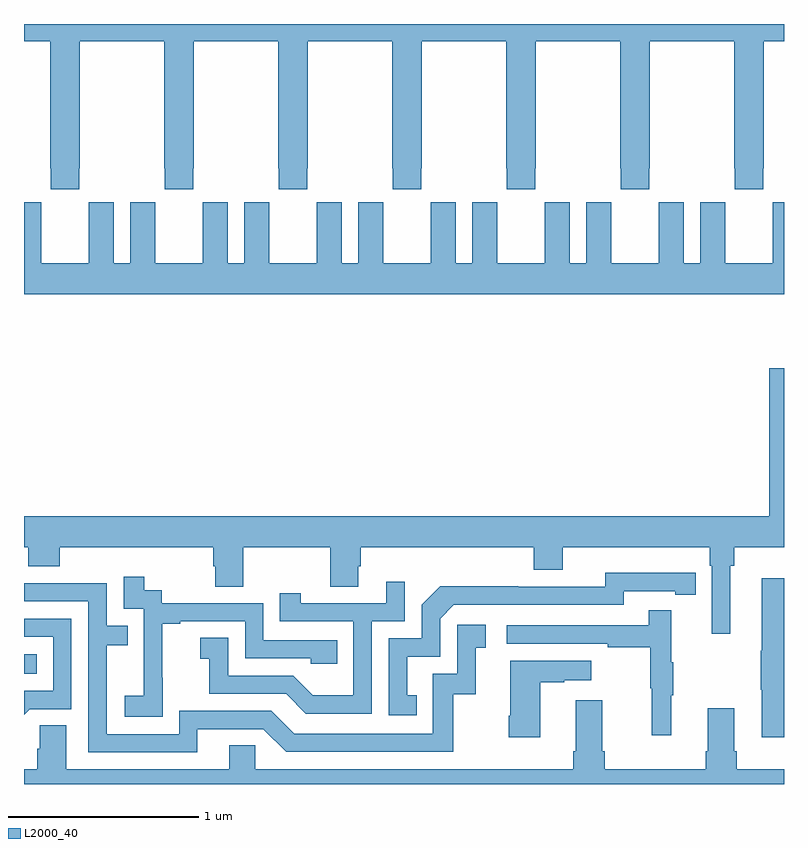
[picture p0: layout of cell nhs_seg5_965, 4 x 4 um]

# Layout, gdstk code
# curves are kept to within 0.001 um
import gdstk
lib = gdstk.Library(unit=1e-6, precision=1e-09)
def R(c, l, rs):  # rectangles x0, y0, x1, y1
    for r in rs: c.add(gdstk.rectangle(r[:2], r[2:], *l))
def P(c, l, *ps):  # polygons
    for p in ps: c.add(gdstk.Polygon(p, *l))
L2000_40 = (2000, 40)

nhs_seg5_965 = lib.new_cell('nhs_seg5_965')
R(nhs_seg5_965, L2000_40, [(171,905.378,171.068,905.482)])
P(nhs_seg5_965, L2000_40, [(171,908.708),(171.139,908.708),(171.139,908.041),(171.141,908.041),(171.141,907.929),(171.291,907.929),(171.291,908.041),(171.294,908.041),(171.294,908.708),(171.739,908.708),(171.739,908.041),(171.741,908.041),(171.741,907.929),(171.891,907.929),(171.891,908.041),(171.894,908.041),(171.894,908.708),(172.339,908.708),(172.339,908.041),(172.341,908.041),(172.341,907.929),(172.491,907.929),(172.491,908.041),(172.494,908.041),(172.494,908.708),(172.939,908.708),(172.939,908.041),(172.941,908.041),(172.941,907.929),(173.091,907.929),(173.091,908.041),(173.094,908.041),(173.094,908.708),(173.539,908.708),(173.539,908.041),(173.541,908.041),(173.541,907.929),(173.691,907.929),(173.691,908.041),(173.694,908.041),(173.694,908.708),(174.139,908.708),(174.139,908.041),(174.141,908.041),(174.141,907.929),(174.291,907.929),(174.291,908.041),(174.294,908.041),(174.294,908.708),(174.739,908.708),(174.739,908.041),(174.741,908.041),(174.741,907.929),(174.891,907.929),(174.891,908.041),(174.894,908.041),(174.894,908.708),(175,908.708),(175,908.799),(171,908.799)],
  [(175,907.861),(174.942,907.861),(174.942,907.748),(174.941,907.748),(174.941,907.54),(174.691,907.54),(174.691,907.748),(174.69,907.748),(174.69,907.861),(174.56,907.861),(174.56,907.54),(174.472,907.54),(174.472,907.861),(174.342,907.861),(174.342,907.748),(174.341,907.748),(174.341,907.54),(174.091,907.54),(174.091,907.748),(174.09,907.748),(174.09,907.861),(173.96,907.861),(173.96,907.54),(173.872,907.54),(173.872,907.861),(173.742,907.861),(173.742,907.748),(173.741,907.748),(173.741,907.54),(173.491,907.54),(173.491,907.748),(173.49,907.748),(173.49,907.861),(173.36,907.861),(173.36,907.54),(173.272,907.54),(173.272,907.861),(173.142,907.861),(173.142,907.748),(173.141,907.748),(173.141,907.54),(172.891,907.54),(172.891,907.748),(172.89,907.748),(172.89,907.861),(172.76,907.861),(172.76,907.54),(172.672,907.54),(172.672,907.861),(172.542,907.861),(172.542,907.748),(172.541,907.748),(172.541,907.54),(172.291,907.54),(172.291,907.748),(172.29,907.748),(172.29,907.861),(172.16,907.861),(172.16,907.54),(172.072,907.54),(172.072,907.861),(171.942,907.861),(171.942,907.748),(171.941,907.748),(171.941,907.54),(171.691,907.54),(171.691,907.748),(171.69,907.748),(171.69,907.861),(171.56,907.861),(171.56,907.54),(171.472,907.54),(171.472,907.861),(171.342,907.861),(171.342,907.748),(171.341,907.748),(171.341,907.54),(171.091,907.54),(171.091,907.748),(171.09,907.748),(171.09,907.861),(171,907.861),(171,907.376),(175,907.376)],
  [(171,906.044),(171.023,906.044),(171.023,905.945),(171.188,905.945),(171.188,906.044),(171.995,906.044),(171.995,905.946),(172.007,905.946),(172.007,905.836),(172.155,905.836),(172.155,906.044),(172.612,906.044),(172.612,905.836),(172.759,905.836),(172.759,905.946),(172.772,905.946),(172.772,906.044),(173.684,906.044),(173.684,905.927),(173.836,905.927),(173.836,906.044),(174.608,906.044),(174.608,905.948),(174.621,905.948),(174.621,905.589),(174.718,905.589),(174.718,905.948),(174.737,905.948),(174.737,906.044),(175,906.044),(175,906.988),(174.923,906.988),(174.923,906.208),(171,906.208)],
  [(173.066,905.265),(173.017,905.265),(173.017,905.469),(173.19,905.469),(173.19,905.67),(173.262,905.742),(174.156,905.742),(174.156,905.814),(174.428,905.814),(174.428,905.794),(174.536,905.794),(174.536,905.91),(174.06,905.911),(174.06,905.838),(173.6,905.838),(173.6,905.84),(173.192,905.84),(173.094,905.742),(173.094,905.565),(172.92,905.565),(172.92,905.16),(173.066,905.16)],
  [(171.729,905.359),(171.728,905.359),(171.728,905.643),(171.823,905.643),(171.823,905.655),(172.164,905.655),(172.164,905.46),(172.509,905.46),(172.509,905.433),(172.649,905.433),(172.649,905.556),(172.26,905.556),(172.26,905.751),(171.726,905.751),(171.726,905.82),(171.634,905.82),(171.634,905.89),(171.525,905.89),(171.525,905.721),(171.63,905.721),(171.63,905.492),(171.629,905.492),(171.629,905.263),(171.531,905.263),(171.531,905.153),(171.729,905.153)],
  [(175,905.881),(174.884,905.881),(174.884,905.501),(174.877,905.501),(174.877,905.295),(174.884,905.295),(174.884,905.046),(175,905.046)],
  [(172.83,905.655),(173.004,905.655),(173.004,905.863),(172.907,905.863),(172.907,905.751),(172.456,905.751),(172.456,905.803),(172.345,905.803),(172.345,905.655),(172.734,905.655),(172.734,905.266),(172.52,905.266),(172.416,905.37),(172.074,905.37),(172.074,905.569),(171.927,905.569),(171.927,905.459),(171.976,905.459),(171.976,905.274),(172.379,905.274),(172.484,905.169),(172.83,905.169)],
  [(171.913,905.088),(172.26,905.088),(172.38,904.968),(173.26,904.968),(173.26,905.271),(173.378,905.271),(173.378,905.517),(173.431,905.517),(173.431,905.638),(173.28,905.638),(173.28,905.379),(173.151,905.379),(173.151,905.064),(172.422,905.064),(172.302,905.184),(171.816,905.184),(171.816,905.061),(171.435,905.061),(171.435,905.53),(171.545,905.53),(171.545,905.631),(171.435,905.631),(171.435,905.856),(171,905.856),(171,905.76),(171.339,905.76),(171.339,904.965),(171.913,904.965)],
  [(174.407,905.267),(174.418,905.267),(174.418,905.441),(174.407,905.441),(174.407,905.713),(174.289,905.713),(174.289,905.634),(173.541,905.634),(173.541,905.538),(174.073,905.538),(174.073,905.518),(174.297,905.518),(174.297,905.304),(174.304,905.304),(174.304,905.055),(174.407,905.055)],
  [(171.03,905.193),(171.249,905.193),(171.249,905.67),(171,905.67),(171,905.574),(171.153,905.574),(171.153,905.289),(171,905.289),(171,905.163)],
  [(173.716,905.335),(173.843,905.335),(173.843,905.345),(173.986,905.345),(173.986,905.449),(173.558,905.449),(173.558,905.158),(173.551,905.158),(173.551,905.046),(173.716,905.046)],
  [(175,904.876),(174.752,904.876),(174.752,904.972),(174.739,904.972),(174.739,905.197),(174.599,905.197),(174.599,904.972),(174.587,904.972),(174.587,904.876),(174.056,904.876),(174.056,904.972),(174.043,904.972),(174.043,905.239),(173.903,905.239),(173.903,904.972),(173.891,904.972),(173.891,904.876),(172.218,904.876),(172.218,905.003),(172.079,905.003),(172.079,904.876),(171.223,904.876),(171.223,905.108),(171.084,905.108),(171.084,904.985),(171.071,904.985),(171.071,904.876),(171,904.876),(171,904.799),(175,904.799)])

lib.write_gds('nhs_seg5_965.gds')
